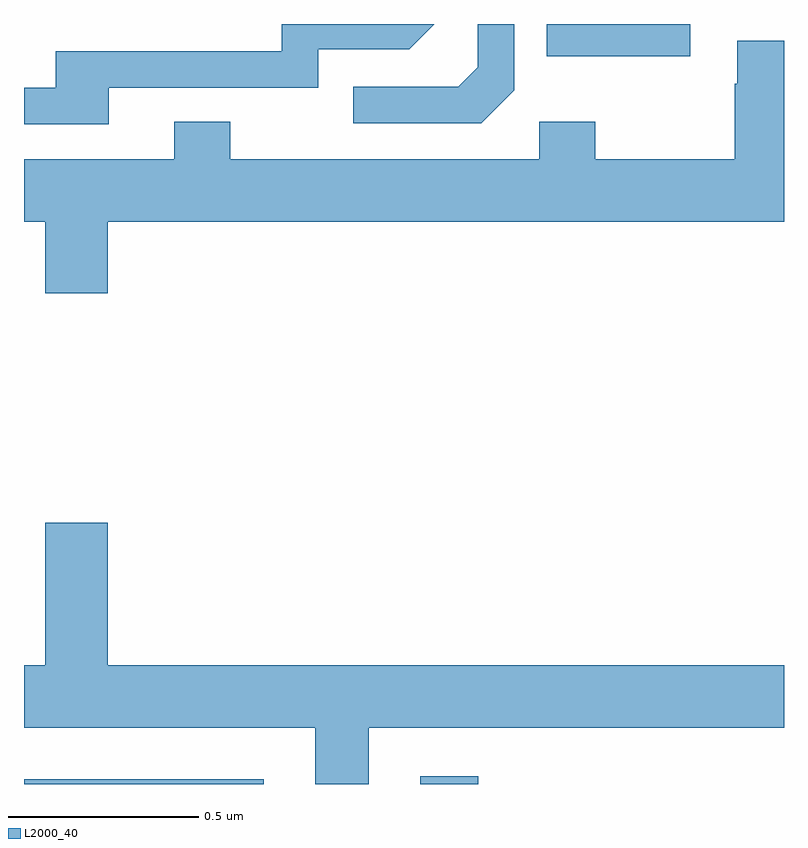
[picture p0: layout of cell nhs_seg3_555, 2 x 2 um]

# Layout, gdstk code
import gdstk
lib = gdstk.Library(unit=1e-6, precision=1e-09)
def R(c, l, rs):  # rectangles x0, y0, x1, y1
    for r in rs: c.add(gdstk.rectangle(r[:2], r[2:], *l))
def P(c, l, *ps):  # polygons
    for p in ps: c.add(gdstk.Polygon(p, *l))
L2000_40 = (2000, 40)

nhs_seg3_555 = lib.new_cell('nhs_seg3_555')
R(nhs_seg3_555, L2000_40, [(117,735.4,117.631,735.412), (118.043,735.4,118.196,735.421), (118.375,737.315,118.753,737.4)])
P(nhs_seg3_555, L2000_40, [(118.29,737.226),(118.29,737.4),(118.194,737.4),(118.194,737.286),(118.143,737.235),(117.867,737.235),(117.867,737.139),(118.203,737.139)],
  [(117.223,737.232),(117.774,737.232),(117.774,737.334),(118.014,737.334),(118.08,737.4),(117.678,737.4),(117.678,737.328),(117.083,737.328),(117.083,737.232),(117,737.232),(117,737.136),(117.223,737.136)],
  [(117.22,736.88),(119,736.88),(119,737.356),(118.877,737.356),(118.877,737.243),(118.87,737.243),(118.87,737.044),(118.503,737.044),(118.503,737.143),(118.356,737.143),(118.356,737.044),(117.543,737.044),(117.543,737.143),(117.395,737.143),(117.395,737.044),(117,737.044),(117,736.88),(117.056,736.88),(117.056,736.692),(117.22,736.692)],
  [(117.907,735.548),(119,735.548),(119,735.712),(117.22,735.712),(117.22,736.087),(117.056,736.087),(117.056,735.712),(117,735.712),(117,735.548),(117.767,735.548),(117.767,735.4),(117.907,735.4)])

lib.write_gds('nhs_seg3_555.gds')
